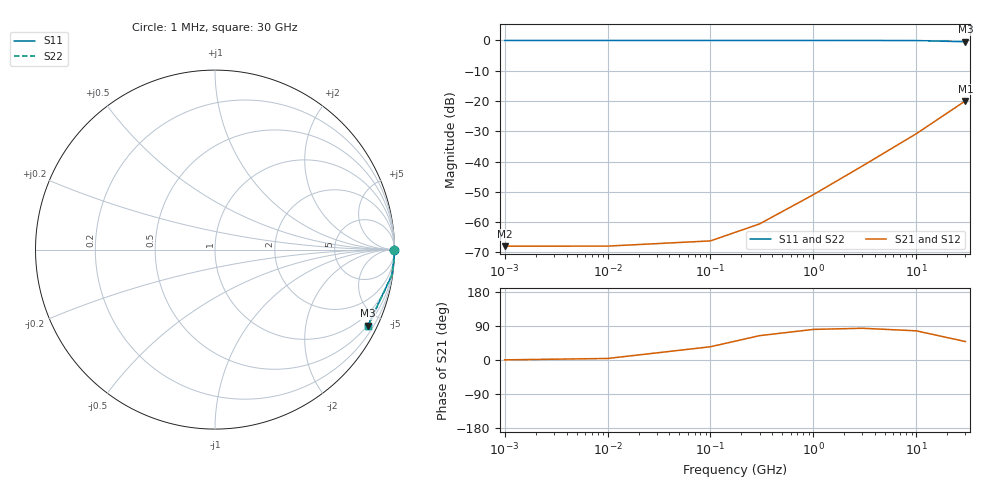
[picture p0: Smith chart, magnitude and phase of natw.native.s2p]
! Sonnet Data File
! From: em Version : 18.53-Lite
! From Project: natw
! Data is NOT De-embedded
! Data File Written: 10/12/2026 12:43:08
!< HDATE 10/12/2026 12:43:08
!< MDATE 10/12/2026 12:43:08
# GHZ S RI R 50.00000
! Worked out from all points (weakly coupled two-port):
!   8 points, 1 MHz to 30 GHz, reference 50 ohm
!   highest |S21| = -19.96 dB at 30 GHz (marker M1); lowest = -68.0 dB at 1 MHz (marker M2)
!   lowest |S11| = -0.4 dB at 30 GHz (marker M3), VSWR 40.54, Z = 23.3 - j210 ohm
!   |S11| at or under -10 dB: nowhere
!   |S22| runs from -0.4 to 0.0 dB; largest |S21 - S12| = 3.1e-13
0.001  0.9996 -1.42e-05  0.0004 2.8e-06  0.0004 2.8e-06  0.9996 -1.42e-05
0.01  0.9996 -0.000142  0.0004 2.8e-05  0.0004 2.8e-05  0.9996 -0.000142
0.1  0.9996 -0.00142  0.0004 0.00028  0.0004 0.00028  0.9996 -0.00142
0.3  0.9996 -0.00426  0.000405 0.000839  0.000405 0.000839  0.9996 -0.00426
1  0.9995 -0.0142  0.000457 0.0028  0.000457 0.0028  0.9995 -0.0142
3  0.9984 -0.0426  0.000921 0.0084  0.000921 0.0084  0.9984 -0.0426
10  0.9855 -0.1425  0.00649 0.0281  0.00649 0.0281  0.9855 -0.1425
30  0.852 -0.4243  0.0663 0.0755  0.0663 0.0755  0.852 -0.4243
